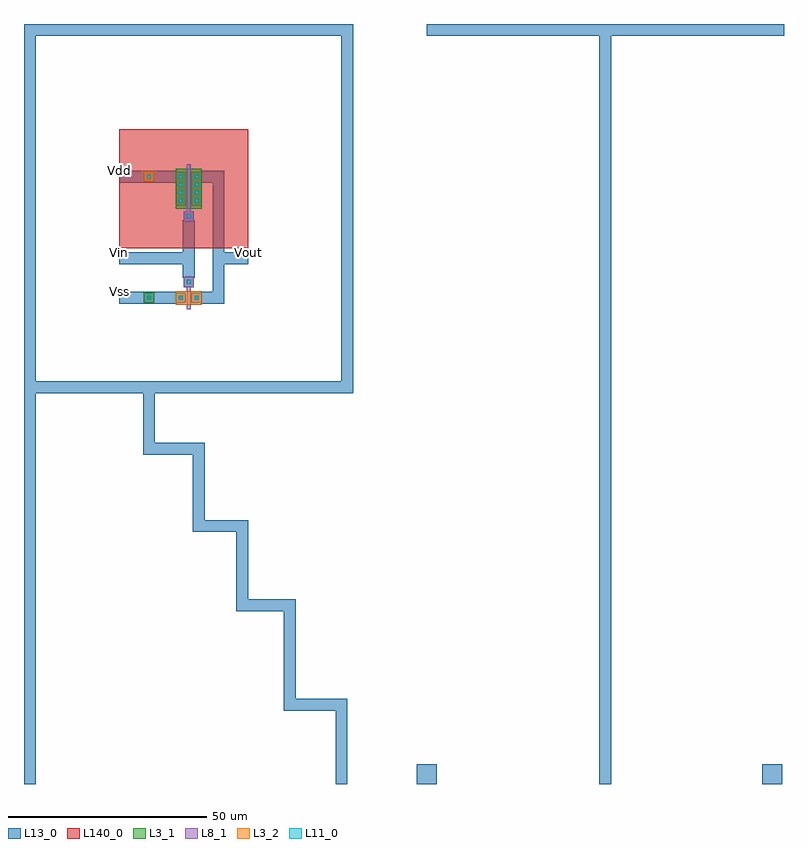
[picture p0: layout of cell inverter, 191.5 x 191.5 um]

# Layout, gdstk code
from math import pi, radians
import gdstk
lib = gdstk.Library(unit=1e-6, precision=1e-07)
def R(c, l, rs):  # rectangles x0, y0, x1, y1
    for r in rs: c.add(gdstk.rectangle(r[:2], r[2:], *l))
def A(c, l, x, y, w, h, nx, ny, dx, dy):  # array of equal rectangles
    R(c, l, [(x+i*dx, y+j*dy, x+i*dx+w, y+j*dy+h) for i in range(nx) for j in range(ny)])
L3_1 = (3, 1)
L3_2 = (3, 2)
L8_1 = (8, 1)
L11_0 = (11, 0)
L13_0 = (13, 0)
L140_0 = (140, 0)

fet_n = lib.new_cell('fet_n')
R(fet_n, L3_2, [(-3.3,-1.7,3.3,1.7)])
R(fet_n, L11_0, [(-2.5,-0.5,-1.5,0.5), (1.5,-0.5,2.5,0.5)])
R(fet_n, L13_0, [(-3.3,-1.3,-0.7,1.3), (0.7,-1.3,3.3,1.3)])
fet_n.add(gdstk.FlexPath([(0,-2.9),(0,2.9)], 1, ends="flush", simple_path=True, layer=8, datatype=1))  # L8_1

cont_p = lib.new_cell('cont_p')
R(cont_p, L3_1, [(-1.3,-1.3,1.3,1.3)])
R(cont_p, L11_0, [(-0.5,-0.5,0.5,0.5)])
R(cont_p, L13_0, [(-1.3,-1.3,1.3,1.3)])

fet_p_1 = lib.new_cell('fet_p$1')
R(fet_p_1, L3_1, [(-3.3,-5,3.3,5)])
A(fet_p_1, L11_0, -2.5, -3.5, 1, 1, 1, 4, 0, 2)
A(fet_p_1, L11_0, 1.5, -3.5, 1, 1, 1, 4, 0, 2)
R(fet_p_1, L13_0, [(-3.3,-4.3,-0.7,4.3), (0.7,-4.3,3.3,4.3)])
fet_p_1.add(gdstk.FlexPath([(0,-6.2),(0,6.2)], 1, ends="flush", simple_path=True, layer=8, datatype=1))  # L8_1

cont_g = lib.new_cell('cont_g')
R(cont_g, L8_1, [(-1.3,-1.3,1.3,1.3)])
R(cont_g, L11_0, [(-0.5,-0.5,0.5,0.5)])
R(cont_g, L13_0, [(-1.3,-1.3,1.3,1.3)])

cont_n = lib.new_cell('cont_n')
R(cont_n, L3_2, [(-1.3,-1.3,1.3,1.3)])
R(cont_n, L11_0, [(-0.5,-0.5,0.5,0.5)])
R(cont_n, L13_0, [(-1.3,-1.3,1.3,1.3)])

inverter = lib.new_cell('inverter')
R(inverter, L140_0, [(-17.5,-20,15,10)])
inverter.add(gdstk.FlexPath([(-38.5,35),(40,35),(40,-55),(-40,-55),(-40,36.5)], 3, ends="flush", simple_path=True, layer=13, datatype=0))  # L13_0
inverter.add(gdstk.FlexPath([(105,35),(105,-155)], 3, ends="flush", simple_path=True, layer=13, datatype=0))  # L13_0
inverter.add(gdstk.FlexPath([(60,35),(150,35)], 3, ends="flush", simple_path=True, layer=13, datatype=0))  # L13_0
inverter.add(gdstk.FlexPath([(-3,-32.5),(-17.5,-32.5)], 3, ends="flush", simple_path=True, layer=13, datatype=0))  # L13_0
inverter.add(gdstk.FlexPath([(7.5,-22.5),(15,-22.5)], 3, ends="flush", simple_path=True, layer=13, datatype=0))  # L13_0
inverter.add(gdstk.FlexPath([(-3,-2),(-17.5,-2)], 3, ends="flush", simple_path=True, layer=13, datatype=0))  # L13_0
inverter.add(gdstk.FlexPath([(0,-22.5),(-17.5,-22.5)], 3, ends="flush", simple_path=True, layer=13, datatype=0))  # L13_0
inverter.add(gdstk.FlexPath([(3,-2),(7.5,-2),(7.5,-32.5),(3,-32.5)], 3, ends="flush", simple_path=True, layer=13, datatype=0))  # L13_0
inverter.add(gdstk.FlexPath([(0,-13),(0,-27.5)], 3, ends="flush", simple_path=True, layer=13, datatype=0))  # L13_0
inverter.add(gdstk.FlexPath([(-40,-55),(-40,-155)], 3, ends="flush", simple_path=True, layer=13, datatype=0))  # L13_0
inverter.add(gdstk.FlexPath([(-10,-55),(-10,-70.5),(2.5,-70.5),(2.5,-90),(13.5,-90),(13.5,-110),(25.5,-110),(25.5,-135),(38.5,-135),(38.5,-155)], 3, ends="flush", simple_path=True, layer=13, datatype=0))  # L13_0
inverter.add(gdstk.FlexPath([(60,-155),(60,-150)], 5, ends="flush", simple_path=True, layer=13, datatype=0))  # L13_0
inverter.add(gdstk.FlexPath([(147,-155),(147,-150)], 5, ends="flush", simple_path=True, layer=13, datatype=0))  # L13_0
inverter.add(gdstk.Reference(fet_n, (0,-32.5)))
inverter.add(gdstk.Reference(cont_p, (-10,-32.5), rotation=pi/2))
inverter.add(gdstk.Reference(fet_p_1, (0,-5)))
inverter.add(gdstk.Reference(cont_g, (0,-12), rotation=pi/2))
inverter.add(gdstk.Reference(cont_g, (0,-28.5), rotation=pi/2))
inverter.add(gdstk.Reference(cont_n, (-10,-2), rotation=pi/2))
inverter.add(gdstk.Label('Vss', (-17.5,-31), layer=48, texttype=0))
inverter.add(gdstk.Label('Vin', (-17.5,-21), layer=48, texttype=0))
inverter.add(gdstk.Label('Vdd', (-17.5,-0.5), layer=48, texttype=0))
inverter.add(gdstk.Label('Vout', (15,-21), layer=48, texttype=0))

lib.write_gds('inverter.gds')
